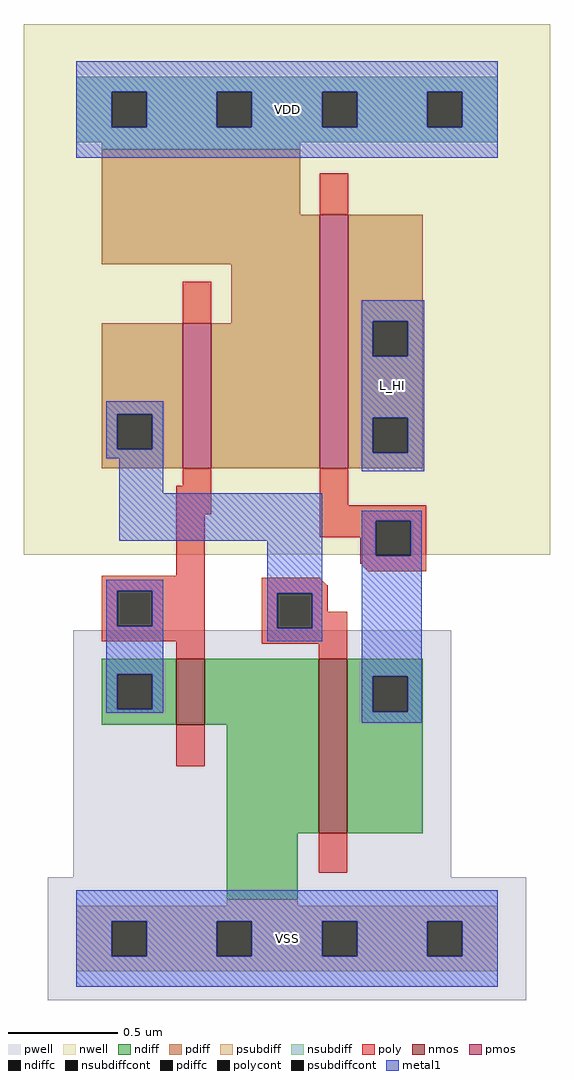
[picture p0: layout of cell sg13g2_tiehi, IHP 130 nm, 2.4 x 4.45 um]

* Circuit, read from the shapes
.subckt sg13g2_tiehi L_HI VDD VSS
XM1 VSS n1 n1 VSS sg13_lv_nmos w=0.3u l=0.13u
XM2 n2 n3 VSS VSS sg13_lv_nmos w=0.795u l=0.13u
XM3 VDD n1 n3 VDD sg13_lv_pmos w=0.66u l=0.13u
XM4 L_HI n2 VDD VDD sg13_lv_pmos w=1.155u l=0.13u
.ends

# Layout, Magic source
magic
tech ihp-sg13g2
magscale 1 2
<< nwell >>
rect -48 350 432 834
<< pwell >>
rect -3 56 342 281
rect -26 -56 410 56
<< nmos >>
rect 91 195 117 255
rect 221 96 247 255
<< pmos >>
rect 97 429 123 561
rect 222 429 248 660
<< ndiff >>
rect 23 241 91 255
rect 23 209 37 241
rect 69 209 91 241
rect 23 195 91 209
rect 117 195 221 255
rect 137 96 221 195
rect 247 239 316 255
rect 247 207 270 239
rect 302 207 316 239
rect 247 96 316 207
rect 137 36 202 96
<< pdiff >>
rect 23 660 204 720
rect 23 615 222 660
rect 141 561 222 615
rect 23 478 97 561
rect 23 446 37 478
rect 69 446 97 478
rect 23 429 97 446
rect 123 429 222 561
rect 248 563 316 660
rect 248 531 270 563
rect 302 531 316 563
rect 248 475 316 531
rect 248 443 270 475
rect 302 443 316 475
rect 248 429 316 443
<< ndiffc >>
rect 37 209 69 241
rect 270 207 302 239
<< pdiffc >>
rect 37 446 69 478
rect 270 531 302 563
rect 270 443 302 475
<< psubdiff >>
rect 137 30 202 36
rect 0 16 384 30
rect 0 -16 32 16
rect 64 -16 128 16
rect 160 -16 224 16
rect 256 -16 320 16
rect 352 -16 384 16
rect 0 -30 384 -16
<< nsubdiff >>
rect 0 772 384 786
rect 0 740 32 772
rect 64 740 128 772
rect 160 740 224 772
rect 256 740 320 772
rect 352 740 384 772
rect 0 726 384 740
rect 23 720 204 726
<< psubdiffcont >>
rect 32 -16 64 16
rect 128 -16 160 16
rect 224 -16 256 16
rect 320 -16 352 16
<< nsubdiffcont >>
rect 32 740 64 772
rect 128 740 160 772
rect 224 740 256 772
rect 320 740 352 772
<< poly >>
rect 222 660 248 698
rect 97 561 123 599
rect 97 413 123 429
rect 91 387 123 413
rect 222 395 248 429
rect 91 331 117 387
rect 222 381 319 395
rect 222 366 273 381
rect 259 349 273 366
rect 305 349 319 381
rect 259 342 319 349
rect 260 341 319 342
rect 261 340 319 341
rect 262 339 319 340
rect 263 338 319 339
rect 264 337 319 338
rect 265 336 319 337
rect 266 335 319 336
rect 23 317 117 331
rect 23 285 37 317
rect 69 285 117 317
rect 23 271 117 285
rect 91 255 117 271
rect 169 328 222 329
rect 169 327 223 328
rect 169 326 224 327
rect 169 325 225 326
rect 169 324 226 325
rect 169 323 227 324
rect 169 322 228 323
rect 169 315 229 322
rect 169 283 183 315
rect 215 298 229 315
rect 215 283 247 298
rect 169 269 247 283
rect 221 255 247 269
rect 91 157 117 195
rect 221 60 247 96
<< polycont >>
rect 273 349 305 381
rect 37 285 69 317
rect 183 283 215 315
<< metal1 >>
rect 0 772 384 800
rect 0 740 32 772
rect 64 740 128 772
rect 160 740 224 772
rect 256 740 320 772
rect 352 740 384 772
rect 0 712 384 740
rect 260 563 317 582
rect 260 531 270 563
rect 302 531 317 563
rect 27 478 79 490
rect 27 446 37 478
rect 69 446 79 478
rect 27 438 79 446
rect 39 406 79 438
rect 260 475 317 531
rect 260 443 270 475
rect 302 443 317 475
rect 260 426 317 443
rect 39 363 224 406
rect 27 317 79 327
rect 27 285 37 317
rect 69 285 79 317
rect 27 241 79 285
rect 174 315 224 363
rect 174 283 183 315
rect 215 283 224 315
rect 174 271 224 283
rect 260 381 315 390
rect 260 349 273 381
rect 305 349 315 381
rect 27 209 37 241
rect 69 209 79 241
rect 27 206 79 209
rect 260 239 315 349
rect 260 207 270 239
rect 302 207 315 239
rect 260 197 315 207
rect 0 16 384 44
rect 0 -16 32 16
rect 64 -16 128 16
rect 160 -16 224 16
rect 256 -16 320 16
rect 352 -16 384 16
rect 0 -44 384 -16
<< labels >>
flabel metal1 s 260 426 317 582 0 FreeSans 400 0 0 0 L_HI
port 2 nsew
flabel metal1 s 0 712 384 800 0 FreeSans 400 0 0 0 VDD
port 3 nsew
flabel metal1 s 0 -44 384 44 0 FreeSans 400 0 0 0 VSS
port 4 nsew
<< properties >>
string FIXED_BBOX 0 0 384 756
string GDS_END 30568
string GDS_FILE ../gds/controller.gds
string GDS_START 27116
<< end >>
